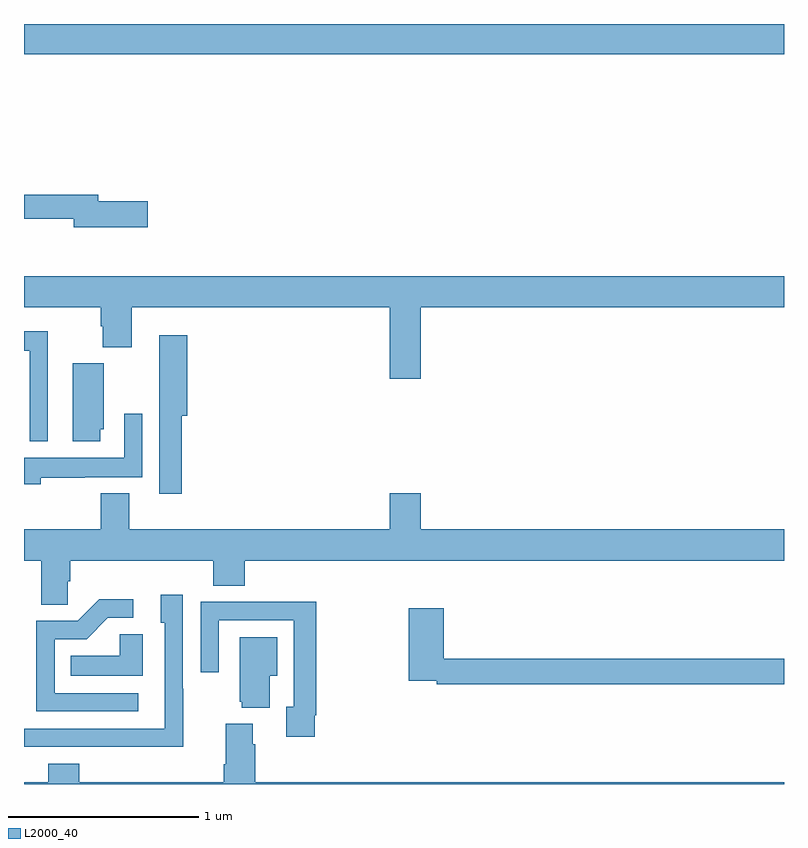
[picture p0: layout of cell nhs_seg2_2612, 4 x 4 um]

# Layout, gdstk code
import gdstk
lib = gdstk.Library(unit=1e-6, precision=1e-09)
def R(c, l, rs):  # rectangles x0, y0, x1, y1
    for r in rs: c.add(gdstk.rectangle(r[:2], r[2:], *l))
def P(c, l, *ps):  # polygons
    for p in ps: c.add(gdstk.Polygon(p, *l))
L2000_40 = (2000, 40)

nhs_seg2_2612 = lib.new_cell('nhs_seg2_2612')
R(nhs_seg2_2612, L2000_40, [(247,643.64,251,643.8)])
P(nhs_seg2_2612, L2000_40, [(247.651,642.866),(247.39,642.866),(247.39,642.902),(247,642.902),(247,642.774),(247.262,642.774),(247.262,642.731),(247.651,642.731)],
  [(249.088,642.308),(251,642.308),(251,642.472),(247,642.472),(247,642.308),(247.403,642.308),(247.403,642.209),(247.415,642.209),(247.415,642.1),(247.568,642.1),(247.568,642.308),(248.924,642.308),(248.924,641.934),(249.088,641.934)],
  [(247.126,642.184),(247,642.184),(247,642.08),(247.029,642.08),(247.029,641.603),(247.126,641.603)],
  [(247.829,641.738),(247.859,641.738),(247.859,642.163),(247.712,642.163),(247.712,641.842),(247.713,641.842),(247.713,641.328),(247.829,641.328)],
  [(247.402,641.667),(247.42,641.667),(247.42,642.015),(247.256,642.015),(247.256,641.604),(247.402,641.604)],
  [(247.088,641.412),(247.319,641.412),(247.319,641.414),(247.623,641.414),(247.623,641.749),(247.527,641.749),(247.527,641.518),(247,641.518),(247,641.378),(247.088,641.378)],
  [(247.23,640.867),(247.244,640.867),(247.244,640.976),(247.997,640.976),(247.997,640.843),(248.162,640.843),(248.162,640.976),(251,640.976),(251,641.14),(249.088,641.14),(249.088,641.329),(248.924,641.329),(248.924,641.14),(247.555,641.14),(247.555,641.329),(247.403,641.329),(247.403,641.14),(247,641.14),(247,640.976),(247.091,640.976),(247.091,640.744),(247.23,640.744)],
  [(247.839,640.301),(247.836,640.301),(247.836,640.795),(247.721,640.795),(247.721,640.65),(247.74,640.65),(247.74,640.092),(247,640.092),(247,639.996),(247.375,639.996),(247.375,639.995),(247.839,639.995)],
  [(247.6,640.278),(247.161,640.278),(247.161,640.563),(247.33,640.563),(247.441,640.674),(247.576,640.674),(247.576,640.772),(247.397,640.772),(247.284,640.659),(247.065,640.659),(247.065,640.182),(247.6,640.182)],
  [(248.53,640.162),(248.537,640.162),(248.537,640.76),(248.245,640.76),(248.245,640.758),(247.929,640.758),(247.929,640.389),(248.025,640.389),(248.025,640.662),(248.421,640.662),(248.421,640.206),(248.381,640.206),(248.381,640.05),(248.53,640.05)],
  [(251,640.46),(249.209,640.46),(249.209,640.726),(249.026,640.726),(249.026,640.344),(249.172,640.344),(249.172,640.324),(251,640.324)],
  [(247.624,640.589),(247.503,640.589),(247.503,640.474),(247.246,640.474),(247.246,640.37),(247.624,640.37)],
  [(248.293,640.37),(248.332,640.37),(248.332,640.573),(248.135,640.573),(248.135,640.233),(248.147,640.233),(248.147,640.202),(248.293,640.202)],
  [(251,639.808),(248.216,639.808),(248.216,640.01),(248.203,640.01),(248.203,640.117),(248.063,640.117),(248.063,639.904),(248.051,639.904),(248.051,639.808),(247.292,639.808),(247.292,639.907),(247.127,639.907),(247.127,639.808),(247,639.808),(247,639.8),(251,639.8)])

lib.write_gds('nhs_seg2_2612.gds')
